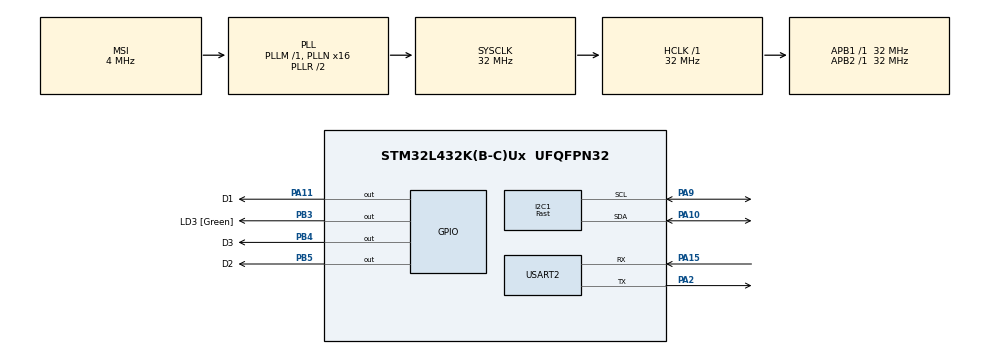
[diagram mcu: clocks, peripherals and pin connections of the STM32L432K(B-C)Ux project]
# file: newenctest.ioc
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Dma.I2C1_RX.0.Direction=DMA_PERIPH_TO_MEMORY
Dma.I2C1_RX.0.Instance=DMA1_Channel7
Dma.I2C1_RX.0.MemDataAlignment=DMA_MDATAALIGN_BYTE
Dma.I2C1_RX.0.MemInc=DMA_MINC_ENABLE
Dma.I2C1_RX.0.Mode=DMA_NORMAL
Dma.I2C1_RX.0.PeriphDataAlignment=DMA_PDATAALIGN_BYTE
Dma.I2C1_RX.0.PeriphInc=DMA_PINC_DISABLE
Dma.I2C1_RX.0.Priority=DMA_PRIORITY_MEDIUM
Dma.Request0=I2C1_RX
I2C1.I2C_Fall_Time=130
I2C1.I2C_Rise_Time=130
I2C1.I2C_Speed_Mode=I2C_Fast
I2C1.Timing=0x00700F2F
Mcu.Family=STM32L4
Mcu.Name=STM32L432K(B-C)Ux
Mcu.Package=UFQFPN32
NVIC.DMA1_Channel7_IRQn=true\:0\:0\:false\:false\:true\:false\:true\:true
NVIC.I2C1_ER_IRQn=true\:0\:0\:false\:false\:true\:true\:true\:true
NVIC.I2C1_EV_IRQn=true\:0\:0\:false\:false\:true\:true\:true\:true
NVIC.PriorityGroup=NVIC_PRIORITYGROUP_4
PA0.GPIO_Label=MCO [High speed clock in]
PA0.Mode=HSE-External-Clock-Source-for-LittleOrca
PA0.Signal=RCC_CK_IN
PA10.GPIO_Pu=GPIO_PULLUP
PA10.Mode=I2C
PA10.Signal=I2C1_SDA
PA11.GPIO_Label=D1
PA11.Signal=GPIO_Output
PA13\ (JTMS-SWDIO).GPIO_Label=SWDIO
PA13\ (JTMS-SWDIO).Mode=Serial_Wire
PA13\ (JTMS-SWDIO).Signal=SYS_JTMS-SWDIO
PA14\ (JTCK-SWCLK).GPIO_Label=SWCLK
PA14\ (JTCK-SWCLK).Mode=Serial_Wire
PA14\ (JTCK-SWCLK).Signal=SYS_JTCK-SWCLK
PA15\ (JTDI).Mode=Asynchronous
PA15\ (JTDI).Signal=USART2_RX
PA2.Mode=Asynchronous
PA2.Signal=USART2_TX
PA9.GPIO_Pu=GPIO_PULLUP
PA9.Mode=I2C
PA9.Signal=I2C1_SCL
PB3\ (JTDO-TRACESWO).GPIO_Label=LD3 [Green]
PB3\ (JTDO-TRACESWO).Signal=GPIO_Output
PB4\ (NJTRST).GPIO_Label=D3
PB4\ (NJTRST).Signal=GPIO_Output
PB5.GPIO_Label=D2
PB5.Signal=GPIO_Output
PC14-OSC32_IN\ (PC14).Mode=LSE-External-Oscillator
PC14-OSC32_IN\ (PC14).Signal=RCC_OSC32_IN
PC15-OSC32_OUT\ (PC15).Mode=LSE-External-Oscillator
PC15-OSC32_OUT\ (PC15).Signal=RCC_OSC32_OUT
ProjectManager.HeapSize=0x200
ProjectManager.StackSize=0x400
ProjectManager.TargetToolchain=STM32CubeIDE
RCC.AHBFreq_Value=32000000
RCC.APB1Freq_Value=32000000
RCC.APB1TimFreq_Value=32000000
RCC.APB2Freq_Value=32000000
RCC.APB2TimFreq_Value=32000000
RCC.CortexFreq_Value=32000000
RCC.HCLKFreq_Value=32000000
RCC.HSE_VALUE=8000000
RCC.HSI16_VALUE=16000000
RCC.HSI48_VALUE=48000000
RCC.HSI_VALUE=16000000
RCC.MSI_VALUE=4000000
RCC.PLLMUL=RCC_PLLMUL_4
RCC.PLLN=16
RCC.SYSCLKFreq_VALUE=32000000
RCC.SYSCLKSource=RCC_SYSCLKSOURCE_PLLCLK
RCC.VCOOutputFreq_Value=64000000
USART2.VirtualMode-Asynchronous=VM_ASYNC
board=NUCLEO-L432KC

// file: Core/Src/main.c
/* USER CODE BEGIN Header */
/**
  ******************************************************************************
  * @file           : main.c
  * @brief          : Main program body
  ******************************************************************************
  * @attention
  *
  * Copyright (c) 2024 STMicroelectronics.
  * All rights reserved.
  *
  * This software is licensed under terms that can be found in the LICENSE file
  * in the root directory of this software component.
  * If no LICENSE file comes with this software, it is provided AS-IS.
  *
  ******************************************************************************
  */
/* USER CODE END Header */
#include "main.h"

/* USER CODE BEGIN Includes */
#include <string.h>
#include <stdio.h>
#include <math.h>
/* USER CODE END Includes */

I2C_HandleTypeDef hi2c1;
DMA_HandleTypeDef hdma_i2c1_rx;

UART_HandleTypeDef huart2;

/* USER CODE BEGIN PV */
static const uint8_t ENC_ADDR = 0x40 << 1;
static const uint8_t TCA_ADDR = 0x70 << 1;
static const uint8_t REG_ANG = 0xFE;

uint8_t rst = 0;
uint8_t bus0 = 1 << 0;
uint8_t bus1 = 1 << 1;
uint8_t bus2 = 1 << 2;
uint8_t bus3 = 1 << 3;
uint8_t bus4 = 1 << 4;
uint8_t bus5 = 1 << 5;
uint8_t bus6 = 1 << 6;
uint8_t bus7 = 1 << 7;
/* USER CODE END PV */

void SystemClock_Config(void);
static void MX_GPIO_Init(void);
static void MX_DMA_Init(void);
static void MX_USART2_UART_Init(void);
static void MX_I2C1_Init(void);
/* USER CODE BEGIN PFP */
void SystemClock_Config(void);
static void MX_GPIO_Init(void);
static void MX_USART2_UART_Init(void);
static void MX_I2C1_Init(void);
/* USER CODE BEGIN PFP */
#ifdef __GNUC__
#define PUTCHAR_PROTOTYPE int __io_putchar(int ch)
#else
#define PUTCHAR_PROTOTYPE int fputc(int ch, FILE *f)
#endif

PUTCHAR_PROTOTYPE
{
  HAL_UART_Transmit(&huart2, (uint8_t *)&ch, 1, HAL_MAX_DELAY);
  return ch;
}

void Wait(void);
uint16_t readEncoder(uint16_t TcaAddr, uint16_t EncAddr, uint8_t *buffer, uint8_t *busid);
/* USER CODE END PFP */

int main(void)
{

  /* MCU Configuration--------------------------------------------------------*/

  /* Reset of all peripherals, Initializes the Flash interface and the Systick. */
  HAL_Init();

  /* Configure the system clock */
  SystemClock_Config();

  /* Initialize all configured peripherals */
  MX_GPIO_Init();
  MX_DMA_Init();
  MX_USART2_UART_Init();
  MX_I2C1_Init();
  /* USER CODE BEGIN 2 */
  HAL_GPIO_TogglePin(GPIOA, D1_Pin);
  HAL_GPIO_TogglePin(GPIOB, D2_Pin);
  HAL_GPIO_TogglePin(GPIOB, D3_Pin);

  uint8_t buf[50];
  uint16_t raw;
  float temp_ang;
  uint8_t ang[40];
  uint8_t offset;

  uint8_t raw2[40];
  uint8_t offset2;

  uint32_t prev;
  uint32_t curr;
  /* USER CODE END 2 */

  /* Infinite loop */
  /* USER CODE BEGIN WHILE */
  prev = HAL_GetTick();
  while (1)
  {
    /* USER CODE END WHILE */

    /* USER CODE BEGIN 3 */
	curr = HAL_GetTick();
	if((curr - prev) >= 10)
	{
		memset(ang, 0, sizeof(ang));
		offset = 0;
		offset2 =0;

		// leg 1
		memset(buf, 0, sizeof(buf));
		raw = readEncoder(TCA_ADDR, ENC_ADDR, buf, &bus0);
		temp_ang = 84.2608 - (10932 - raw)*360/pow(2,14);
		temp_ang *= 10000;
  		sprintf((char*)&ang[offset],
  				"%02u.%04u  ",
				(unsigned int)temp_ang / 10000,
				(unsigned int)temp_ang % 10000);
  		sprintf((char*)&raw2[offset2], "%05u    ", raw);

  		memset(&raw, 0, sizeof(raw));
  		memset(&temp_ang, 0, sizeof(temp_ang));
  		offset += 9;
  		offset2 += 9;

  		// leg 2
		memset(buf, 0, sizeof(buf));
		raw = readEncoder(TCA_ADDR, ENC_ADDR, buf, &bus5);
		temp_ang = 84.0448 - (12727 - raw)*360/pow(2,14);
		temp_ang *= 10000;
  		sprintf((char*)&ang[offset],
  				"%02u.%04u  ",
				(unsigned int)temp_ang / 10000,
				(unsigned int)temp_ang % 10000);
  		sprintf((char*)&raw2[offset2], "%05u    ", raw);

  		memset(&raw, 0, sizeof(raw));
  		memset(&temp_ang, 0, sizeof(temp_ang));
  		offset += 9;
  		offset2 += 9;

		// leg 3
		memset(buf, 0, sizeof(buf));
		raw = readEncoder(TCA_ADDR, ENC_ADDR, buf, &bus7);
		temp_ang = 84.1169 - (12037 - raw)*360/pow(2,14);
		temp_ang *= 10000;
  		sprintf((char*)&ang[offset],
  				"%02u.%04u",
				(unsigned int)temp_ang / 10000,
				(unsigned int)temp_ang % 10000);
  		sprintf((char*)&raw2[offset2], "%05u  ", raw);

  		memset(&raw, 0, sizeof(raw));
  		memset(&temp_ang, 0, sizeof(temp_ang));
  		offset += 7;
  		offset2 += 5;

  		// UART Tx
  		sprintf((char*)&ang[offset], "\r\n");
  		HAL_UART_Transmit(&huart2, ang, strlen((char*)ang), HAL_MAX_DELAY);

  		sprintf((char*)&raw2[offset2], "\r\n\n");
  		HAL_UART_Transmit(&huart2, raw2, strlen((char*)raw2), HAL_MAX_DELAY);

		prev = curr;
	}
	HAL_Delay(100);
  }
  /* USER CODE END 3 */
}

void SystemClock_Config(void)
{
  RCC_OscInitTypeDef RCC_OscInitStruct = {0};
  RCC_ClkInitTypeDef RCC_ClkInitStruct = {0};

  /** Configure the main internal regulator output voltage
  */
  if (HAL_PWREx_ControlVoltageScaling(PWR_REGULATOR_VOLTAGE_SCALE1) != HAL_OK)
  {
    Error_Handler();
  }

  /** Configure LSE Drive Capability
  */
  HAL_PWR_EnableBkUpAccess();
  __HAL_RCC_LSEDRIVE_CONFIG(RCC_LSEDRIVE_LOW);

  /** Initializes the RCC Oscillators according to the specified parameters
  * in the RCC_OscInitTypeDef structure.
  */
  RCC_OscInitStruct.OscillatorType = RCC_OSCILLATORTYPE_LSE|RCC_OSCILLATORTYPE_MSI;
  RCC_OscInitStruct.LSEState = RCC_LSE_ON;
  RCC_OscInitStruct.MSIState = RCC_MSI_ON;
  RCC_OscInitStruct.MSICalibrationValue = 0;
  RCC_OscInitStruct.MSIClockRange = RCC_MSIRANGE_6;
  RCC_OscInitStruct.PLL.PLLState = RCC_PLL_ON;
  RCC_OscInitStruct.PLL.PLLSource = RCC_PLLSOURCE_MSI;
  RCC_OscInitStruct.PLL.PLLM = 1;
  RCC_OscInitStruct.PLL.PLLN = 16;
  RCC_OscInitStruct.PLL.PLLP = RCC_PLLP_DIV7;
  RCC_OscInitStruct.PLL.PLLQ = RCC_PLLQ_DIV2;
  RCC_OscInitStruct.PLL.PLLR = RCC_PLLR_DIV2;
  if (HAL_RCC_OscConfig(&RCC_OscInitStruct) != HAL_OK)
  {
    Error_Handler();
  }

  /** Initializes the CPU, AHB and APB buses clocks
  */
  RCC_ClkInitStruct.ClockType = RCC_CLOCKTYPE_HCLK|RCC_CLOCKTYPE_SYSCLK
                              |RCC_CLOCKTYPE_PCLK1|RCC_CLOCKTYPE_PCLK2;
  RCC_ClkInitStruct.SYSCLKSource = RCC_SYSCLKSOURCE_PLLCLK;
  RCC_ClkInitStruct.AHBCLKDivider = RCC_SYSCLK_DIV1;
  RCC_ClkInitStruct.APB1CLKDivider = RCC_HCLK_DIV1;
  RCC_ClkInitStruct.APB2CLKDivider = RCC_HCLK_DIV1;

  if (HAL_RCC_ClockConfig(&RCC_ClkInitStruct, FLASH_LATENCY_1) != HAL_OK)
  {
    Error_Handler();
  }

  /** Enable MSI Auto calibration
  */
  HAL_RCCEx_EnableMSIPLLMode();
}

static void MX_I2C1_Init(void)
{

  hi2c1.Instance = I2C1;
  hi2c1.Init.Timing = 0x00700F2F;
  hi2c1.Init.OwnAddress1 = 0;
  hi2c1.Init.AddressingMode = I2C_ADDRESSINGMODE_7BIT;
  hi2c1.Init.DualAddressMode = I2C_DUALADDRESS_DISABLE;
  hi2c1.Init.OwnAddress2 = 0;
  hi2c1.Init.OwnAddress2Masks = I2C_OA2_NOMASK;
  hi2c1.Init.GeneralCallMode = I2C_GENERALCALL_DISABLE;
  hi2c1.Init.NoStretchMode = I2C_NOSTRETCH_DISABLE;
  if (HAL_I2C_Init(&hi2c1) != HAL_OK)
  {
    Error_Handler();
  }

  /** Configure Analogue filter
  */
  if (HAL_I2CEx_ConfigAnalogFilter(&hi2c1, I2C_ANALOGFILTER_ENABLE) != HAL_OK)
  {
    Error_Handler();
  }

  /** Configure Digital filter
  */
  if (HAL_I2CEx_ConfigDigitalFilter(&hi2c1, 0) != HAL_OK)
  {
    Error_Handler();
  }

}

static void MX_USART2_UART_Init(void)
{

  huart2.Instance = USART2;
  huart2.Init.BaudRate = 115200;
  huart2.Init.WordLength = UART_WORDLENGTH_8B;
  huart2.Init.StopBits = UART_STOPBITS_1;
  huart2.Init.Parity = UART_PARITY_NONE;
  huart2.Init.Mode = UART_MODE_TX_RX;
  huart2.Init.HwFlowCtl = UART_HWCONTROL_NONE;
  huart2.Init.OverSampling = UART_OVERSAMPLING_16;
  huart2.Init.OneBitSampling = UART_ONE_BIT_SAMPLE_DISABLE;
  huart2.AdvancedInit.AdvFeatureInit = UART_ADVFEATURE_NO_INIT;
  if (HAL_UART_Init(&huart2) != HAL_OK)
  {
    Error_Handler();
  }

}

static void MX_DMA_Init(void)
{

  /* DMA controller clock enable */
  __HAL_RCC_DMA1_CLK_ENABLE();

  /* DMA interrupt init */
  /* DMA1_Channel7_IRQn interrupt configuration */
  HAL_NVIC_SetPriority(DMA1_Channel7_IRQn, 0, 0);
  HAL_NVIC_EnableIRQ(DMA1_Channel7_IRQn);

}

static void MX_GPIO_Init(void)
{
  GPIO_InitTypeDef GPIO_InitStruct = {0};

  /* GPIO Ports Clock Enable */
  __HAL_RCC_GPIOC_CLK_ENABLE();
  __HAL_RCC_GPIOA_CLK_ENABLE();
  __HAL_RCC_GPIOB_CLK_ENABLE();

  /*Configure GPIO pin Output Level */
  HAL_GPIO_WritePin(D1_GPIO_Port, D1_Pin, GPIO_PIN_RESET);

  /*Configure GPIO pin Output Level */
  HAL_GPIO_WritePin(GPIOB, LD3_Pin|D3_Pin|D2_Pin, GPIO_PIN_RESET);

  /*Configure GPIO pin : D1_Pin */
  GPIO_InitStruct.Pin = D1_Pin;
  GPIO_InitStruct.Mode = GPIO_MODE_OUTPUT_PP;
  GPIO_InitStruct.Pull = GPIO_NOPULL;
  GPIO_InitStruct.Speed = GPIO_SPEED_FREQ_LOW;
  HAL_GPIO_Init(D1_GPIO_Port, &GPIO_InitStruct);

  /*Configure GPIO pins : LD3_Pin D3_Pin D2_Pin */
  GPIO_InitStruct.Pin = LD3_Pin|D3_Pin|D2_Pin;
  GPIO_InitStruct.Mode = GPIO_MODE_OUTPUT_PP;
  GPIO_InitStruct.Pull = GPIO_NOPULL;
  GPIO_InitStruct.Speed = GPIO_SPEED_FREQ_LOW;
  HAL_GPIO_Init(GPIOB, &GPIO_InitStruct);

}

/* USER CODE BEGIN 4 */
void Wait()
{
	while(HAL_I2C_GetState(&hi2c1) != HAL_I2C_STATE_READY){};
}

uint16_t readEncoder(uint16_t TcaAddr, uint16_t EncAddr, uint8_t *buffer, uint8_t *busid)
{
	uint16_t temp;
	// Tell TCA to choose bus
	HAL_I2C_Master_Transmit(&hi2c1, TcaAddr, busid, 1, HAL_MAX_DELAY);
	Wait();
	// Tell ENC to read from angle register
	buffer[0] = REG_ANG;
	HAL_I2C_Master_Seq_Transmit_IT(&hi2c1, EncAddr, buffer, 1, I2C_FIRST_FRAME);
	Wait();
	// Read 2 bytes from ENC
	HAL_I2C_Master_Seq_Receive_IT(&hi2c1, (EncAddr | 0x01), buffer, 2, I2C_LAST_FRAME);
	Wait();
	// Bus disable
	HAL_I2C_Master_Transmit(&hi2c1, TcaAddr, &rst, 1, HAL_MAX_DELAY);
	// Combine bytes
	temp = (buffer[0] << 6) | (buffer[1] & 0x3f);

	return temp;
}
/* USER CODE END 4 */

void Error_Handler(void)
{
  __disable_irq();
  while (1)
  {
  }
}
